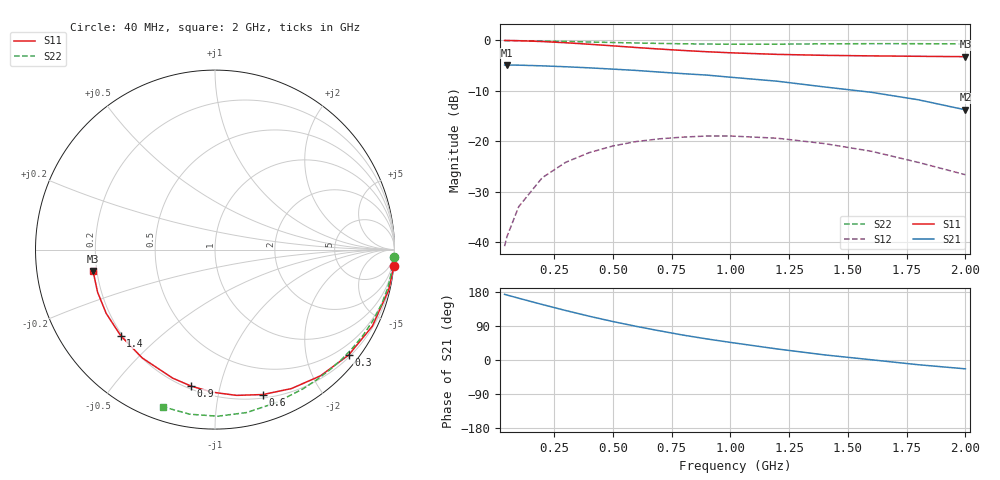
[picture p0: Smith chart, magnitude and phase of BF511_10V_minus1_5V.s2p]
! Philips part #: BF511  Date: May 2005
! Bias condition: Vce=10V, Vgs=-4E-04V, ID_MAX=7mA, VGS_START=-1.5V
#  MHz  S  MA  R  50
! Standard  S11  S21  S12  S22
!  Mag  Ang  Mag  Ang  Mag  Ang  Mag  Ang
! Freq  [rat]  [deg]  [rat]  [deg]  [rat]  [deg]  [rat]  [deg]
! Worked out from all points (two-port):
!   17 points, 40 MHz to 2 GHz, reference 50 ohm
!   highest |S21| = -4.88 dB at 50 MHz (marker M1); lowest = -13.8 dB at 2 GHz (marker M2)
!   |S21| within 3 dB of the highest: start of sweep to 1.147 GHz
!   lowest |S11| = -3.2 dB at 2 GHz (marker M3), VSWR 5.45, Z = 9.24 - j4.21 ohm
!   |S11| at or under -10 dB: nowhere
!   |S22| runs from -0.7 to 0.0 dB; largest |S21 - S12| = 0.57
!   S11 on the Smith chart (normalised r, x): 40 MHz: 0, -22; 300 MHz: 0.24, -2.86; 600 MHz: 0.23, -1.36; 900 MHz: 0.22, -0.82; 1.4 GHz: 0.19, -0.37; 2 GHz: 0.18, -0.08
40  0.999 -5.3  0.5703 173.2  0.00914 85.9  0.9956 -2.5
50  0.9982 -6.6  0.5703 171.5  0.01136 84.8  0.9952 -3.1
100  0.9935 -13.2  0.5687 163.0  0.02252 80.1  0.9933 -6.2
200  0.9748 -26.0  0.5598 146.4  0.04358 70.8  0.9865 -12.3
300  0.9484 -38.3  0.5482 130.6  0.062 62.1  0.9767 -18.4
400  0.9165 -50.1  0.5348 115.5  0.07729 53.9  0.9648 -24.2
500  0.8837 -61.2  0.5194 101.6  0.08985 46.4  0.9536 -29.9
600  0.8506 -71.7  0.5041 88.8  0.0995 39.8  0.9427 -35.6
700  0.821 -81.6  0.4854 76.9  0.1059 33.8  0.9337 -41.1
800  0.7947 -91.0  0.4681 65.6  0.1101 27.8  0.9259 -46.6
900  0.7724 -99.8  0.4533 55.7  0.1129 22.6  0.9204 -52.1
1000  0.7539 -108.3  0.4319 46.5  0.1129 18.0  0.9176 -57.7
1200  0.7272 -123.8  0.3941 29.1  0.1073 9.3  0.9185 -68.6
1400  0.7114 -137.7  0.3459 13.5  0.095 3.2  0.9248 -79.0
1600  0.7027 -149.6  0.3061 0.6  0.07969 0.1  0.9284 -89.0
1800  0.6959 -160.1  0.258 -12.5  0.0618 2.4  0.9279 -98.7
2000  0.6899 -170.0  0.2052 -23.3  0.04667 16.2  0.9224 -108.5
